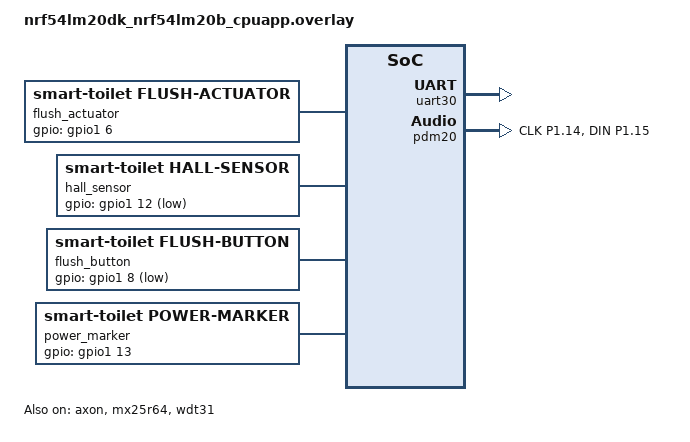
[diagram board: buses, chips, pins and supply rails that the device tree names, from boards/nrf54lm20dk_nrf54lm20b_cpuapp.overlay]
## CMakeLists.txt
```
#
# Copyright (c) 2026 Nordic Semiconductor ASA
#
# SPDX-License-Identifier: LicenseRef-Nordic-5-Clause
#

cmake_minimum_required(VERSION 3.20.0)

find_package(Zephyr REQUIRED HINTS $ENV{ZEPHYR_BASE})
project(ww_kws)

target_sources(app PRIVATE
  src/main.c

  src/actuator.c
  src/cloud.c
  src/control_output.c
  src/dmic.c
  src/leds.c

  src/ww/wakeword.c
)

# The keyword-spotting stage and its model (~26 KB RAM) are only built for the
# KWS modes. The smart toilet runs APP_MODE_WW_ONLY, so they are omitted to
# leave room for the Wi-Fi/cloud/Memfault stacks.
target_sources_ifndef(CONFIG_APP_MODE_WW_ONLY app PRIVATE
  src/kws/kws.c
  src/kws/nrf_edgeai_generated/nrf_edgeai_user_model.c
)

# Compile in the nRF Cloud credentials when provisioning certs at build time.
zephyr_include_directories_ifdef(CONFIG_NRF_CLOUD_PROVISION_CERTIFICATES certs)

if(CONFIG_NRF_CLOUD_COAP)
  target_include_directories(app PRIVATE
    ${ZEPHYR_BASE}/../nrf/subsys/net/lib/nrf_cloud/common/include
    # nrf_cloud_coap_transport.h exposes nrf_cloud_coap_post(), used to forward
    # Memfault chunks to nRF Cloud's "chunks" resource over our CoAP connection.
    ${ZEPHYR_BASE}/../nrf/subsys/net/lib/nrf_cloud/coap/include)
endif()

# Wake word model selected via the APP_WW_MODEL Kconfig choice. Each model
# directory carries its own nrf_edgeai_generated/ files; the include
# directory makes wakeword.c's "nrf_edgeai_generated/..." include resolve
# to the selected model.
set(WW_MODEL_DIR src/ww/models/abracadabra_kws)
target_sources(app PRIVATE ${WW_MODEL_DIR}/nrf_edgeai_generated/nrf_edgeai_user_model.c)
target_include_directories(app PRIVATE ${WW_MODEL_DIR})

target_sources_ifdef(CONFIG_MEMFAULT app PRIVATE src/audio_telemetry.c)
# Liveness watchdog for the wake-word audio loop: captures a Memfault coredump
# and reboots if the loop wedges. Needs the Memfault assert/coredump path.
target_sources_ifdef(CONFIG_MEMFAULT app PRIVATE src/audio_watchdog.c)
# Application Memfault heartbeat metric definitions
# (memfault_metrics_heartbeat_config.def lives in config/).
zephyr_include_directories_ifdef(CONFIG_MEMFAULT config)
# Audio level stats: needed for the per-second UART log (APP_AUDIO_STATS) and/or
# the Memfault audio metrics (MEMFAULT, fed via audio_telemetry). Compile if
# either is enabled so logging can be turned off without losing the metrics.
if(CONFIG_APP_AUDIO_STATS OR CONFIG_MEMFAULT)
  target_sources(app PRIVATE src/audio_stats.c)
endif()
target_sources_ifdef(CONFIG_APP_AUDIO_PROC app PRIVATE src/audio_proc.c)
target_sources_ifdef(CONFIG_APP_AUDIO_SNAP app PRIVATE src/audio_snap.c)
```

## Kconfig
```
#
# Copyright (c) 2026 Nordic Semiconductor ASA
#
# SPDX-License-Identifier: LicenseRef-Nordic-5-Clause
#

menu "Wakeword and Keyword Spotting application"

choice APP_MODE
	prompt "Application mode"
	default APP_MODE_WW_GATED_KWS

config APP_MODE_WW_GATED_KWS
	bool "Wakeword-gated keyword spotting mode"
	help
	  Run keyword spotting model only after wakeword was detected. After configurable duration
	  without any keyword spotted switch back to wakeword detection.

config APP_MODE_WW_ONLY
	bool "Wakeword detection only mode"
	help
	  Run wakeword detection continuously without switching to keyword spotting.

config APP_MODE_KWS_ONLY
	bool "Keyword spotting only mode"
	help
	  Run keyword spotting continuously without the need to detect wakeword first.

endchoice

choice APP_WW_MODEL
	prompt "Wake word model"
	default APP_WW_MODEL_ABRACADABRA
	help
	  Selects which generated model under src/ww/models/ is built in.
	  Longer, plosive-rich words survive far-field room reverb much
	  better: the original 2-syllable "Shazaam" managed only ~50% at the
	  deployment distance and was dropped.

config APP_WW_MODEL_ABRACADABRA
	bool "Abracadabra (Edge AI Lab solution 96848, 3-class KWS)"
	help
	  5-syllable word, plosive-rich with alternating open vowels —
	  ~95-100% at far-field in live testing (v2.x solution 93800).
	  Exported with Edge AI Lab 3.0.0 as a keyword-spotting model with
	  OTHER, SILENCE and abracadabra classes. The v2.x exports (93800,
	  "Okay Nordic") cannot run on the v3 runtime and were removed.

endchoice

config WW_PROBABILITY_THRESHOLD
	int "Wakeword probability threshold"
	range 0 1000
	default 990
	help
	   Probability threshold for wakeword detection model. The value is expressed in units of
	   1/1000.

config WW_HISTORY_SIZE
	int "Size of wakeword predictions history"
	range 1 32
	default 20
	help
	  Size of history of previous results from wakeword detection model. Each entry corresponds
	  to 30 milliseconds of past audio.

config WW_COUNT_THRESHOLD
	int "Threshold for wakeword detection from predictions history"
	range 1 WW_HISTORY_SIZE
	default 15
	help
	  Number of predictions above threshold in predictions history required to confirm wakeword
	  detection.

config WW_NEAR_MISS_FLOOR
	int "Near-miss floor probability, in 1/1000"
	range 0 1000
	default 300
	help
	  A run of inference frames at or above this probability that ends
	  without a confirmed detection is a "near miss": the model half-heard
	  something. Its peak probability and the audio level around it are
	  reported as ww_near_miss_* heartbeat metrics, and it arms the retry
	  assist (WW_RETRY_THRESHOLD).

config WW_NEAR_MISS_GAP_FRAMES
	int "Frames below the near-miss floor that end a run"
	range 1 100
	default 10
	help
	  A near-miss run ends once the probability has stayed below
	  WW_NEAR_MISS_FLOOR for this many consecutive frames (~30 ms each).

config WW_RETRY_THRESHOLD
	int "Probability bar while the retry assist is armed, in 1/1000"
	range 0 1000
	default 600
	help
	  After a near miss the per-frame bar drops from WW_PROBABILITY_THRESHOLD
	  to this value for WW_RETRY_WINDOW_MS, so a repeated utterance is
	  accepted. The vote count (WW_COUNT_THRESHOLD) is unchanged. Set equal
	  to WW_PROBABILITY_THRESHOLD to disable the assist.

config WW_RETRY_WINDOW_MS
	int "Retry assist duration after a near miss (ms)"
	range 0 30000
	default 3000

config WW_MISS_BUTTON_WINDOW_MS
	int "Button press within this many ms of a near miss counts as a confirmed miss"
	range 0 120000
	default 15000
	help
	  A failsafe-button press this soon after a near miss is taken as the
	  user giving up on voice: reported as ww_miss_then_button_count.

config WW_TRACE
	bool "Log a per-utterance trace of wake-word probabilities to UART"
	help
	  Live-tuning aid. For each run of frames where any non-background
	  class reaches 10 %, log one line with P(wake word) per frame in
	  percent, the argmax class per frame, the peak vote count and whether
	  it fired. Off in deployed builds.

config WW_CLASS_STATS
	bool "Log per-second argmax class counts to UART"
	help
	  Bench aid for checking the model's class labels. Once per second
	  (33 inferences), log how many inferences each class won as the
	  argmax, by index and label name. Compare quiet room, talking and
	  flushing: the class that wins while talking is the speech class.
	  Off in deployed builds.

config WW_MEL_CAL
	bool "Log mel value percentiles for the energy descriptor's scale"
	depends on NRF_EDGEAI_OBSV_METRIC_MEL_SPECTRAL_DESC || NRF_EDGEAI_OBSV_METRIC_MEL_ENERGY_DESC
	help
	  Bench aid for calibrating NRF_EDGEAI_OBSV_MEL_ENERGY_DESC_SCALE_P01/
	  P99_MILLI. Samples every mel feature value since boot and every 10 s logs
	  the 1st and 99th percentiles as the Kconfig values to set, plus the
	  window's min/max/mean. Costs 4 KB of RAM. Off in deployed builds.

config APP_PDM_GAIN_DB
	int "PDM microphone digital gain (dB)"
	range -20 20
	default 12
	help
	  Digital gain applied in the PDM peripheral on top of the 0 dB hardware
	  default. Raise it if speech at normal use distance peaks below about
	  -20 dBFS; lower it if APP_AUDIO_STATS reports clipped samples.

config APP_AUDIO_STATS
	bool "Log audio level and wake-word tuning statistics to UART"
	help
	  Once per second, log the microphone peak/RMS level in dBFS with a
	  clipped-sample count, and the peak wake-word probability and vote
	  count. Use this to tune APP_PDM_GAIN_DB and the WW_* thresholds.

	  This controls only the per-second UART logging. The Memfault audio
	  metrics (audio_peak_dbfs, audio_noise_floor_dbfs, audio_clip_count,
	  ww_prob_max_pct) are collected whenever CONFIG_MEMFAULT is enabled,
	  independent of this option, so the logging can be turned off in a
	  deployed build without losing remote diagnosis.

config APP_AUDIO_HPF
	bool "High-pass filter the mic audio"
	help
	  Apply a 2nd-order Butterworth high-pass at 120 Hz to each audio
	  block before detection, stripping rumble and handling noise below
	  the speech band.

config APP_AGC
	bool "Automatic gain control on the mic audio"
	help
	  Track the speech peak level and apply a smoothed software gain that
	  pulls it toward APP_AGC_TARGET_DBFS, compensating for speaker
	  distance on top of the fixed APP_PDM_GAIN_DB hardware gain. Cannot
	  undo saturation that happens in the PDM peripheral itself.

config APP_AGC_TARGET_DBFS
	int "AGC target peak level (dBFS)"
	depends on APP_AGC
	range -30 -6
	default -20
	help
	  Peak level the AGC pulls speech toward. The wake-word model is most
	  reliable with speech peaks in the -25 to -15 dBFS range.

config APP_AUDIO_PROC
	bool
	default y if APP_AUDIO_HPF || APP_AGC

config APP_AUDIO_SNAP
	bool "Audio snapshot recording over the control UART"
	# The async-UART raw-output/raw-input API this feature depends on
	# (control_output_raw_begin/tx/end, control_input_register) was removed
	# from control_output.c when it was rewritten to share VCOM0 with printk
	# logging (see control_output.c's file header). Nothing currently
	# implements those symbols, so enabling this option is a link error in
	# every build variant, not just the Wi-Fi one. Depend on an option that
	# does not exist so it cannot be selected until reimplemented.
	depends on APP_AUDIO_SNAP_BACKEND_IMPLEMENTED
	help
	  On receiving the trigger byte 'S' on the control UART (VCOM0),
	  record APP_AUDIO_SNAP_SECONDS of the processed mic audio to RAM,
	  then dump it back over the same UART as an "AUDIO_SNAP <bytes>"
	  header followed by raw 16-bit little-endian PCM at 16 kHz. Save it
	  as a .wav with: tools/uart_monitor.py snap --port <VCOM0>.

	  Currently NON-FUNCTIONAL: its backing raw-UART implementation in
	  control_output.c was removed and never restored (see git history for
	  control_output.c). Selecting this option is disabled until that is
	  reimplemented, so builds fail fast at configure time instead of at
	  link time.

config APP_AUDIO_SNAP_SECONDS
	int "Audio snapshot length (seconds)"
	depends on APP_AUDIO_SNAP
	range 1 12
	default 10
	help
	  Length of the recorded snapshot. RAM cost is 32 KB per second.

config APP_CONN_DUTY_CYCLE
	bool "Duty-cycled connectivity (low-power)"
	help
	  Replace always-on connectivity with periodic DRAIN windows: bring
	  Wi-Fi up, upload buffered Memfault data, run one FOTA check, then
	  take the interface fully down (radio off) until the next window.
	  Audio capture and inference are unaffected and stay always-on.
	  Between windows there is deliberately no Wi-Fi association, which
	  sidesteps the silent-drop and link-flap failure classes entirely.

config APP_CONN_DRAIN_PERIOD_S
	int "Seconds of radio-off time between DRAIN windows"
	depends on APP_CONN_DUTY_CYCLE
	default 3600
	help
	  Off-time between the end of one DRAIN window and the start of the
	  next. The fleet Device Offline alert threshold must comfortably
	  exceed this or every sleep window pages the whole team.
	  Raising this also raises the RAM cost of Memfault event storage
	  (every heartbeat fired while offline is buffered until the next
	  window drains it), so CONFIG_MEMFAULT_METRICS_HEARTBEAT_INTERVAL_SECS
	  and CONFIG_MEMFAULT_EVENT_STORAGE_SIZE must be re-sized together
	  with it. lowpower.conf sets all three as a matched set.

config APP_LED_HEARTBEAT
	bool "Pulse LED1 periodically instead of holding it on"
	help
	  By default LED1 is driven steady for the entire uptime to show that
	  audio capture is live. A DK LED draws on the order of a couple of mA,
	  which held continuously is a LARGER average draw than the whole
	  connectivity duty cycle saves, and on the bench it adds a constant
	  offset to every current trace. This replaces it with a short pulse:
	  at the defaults (20 ms every 5 s) the duty cycle is 0.4%, cutting the
	  LED's average contribution by roughly 250x while the board still
	  visibly indicates it is running.
	  Wake-word detection blinks keep priority over the pulse.

config APP_LED_HEARTBEAT_INTERVAL_MS
	int "LED1 heartbeat interval (ms)"
	depends on APP_LED_HEARTBEAT
	default 5000

config APP_LED_HEARTBEAT_ON_MS
	int "LED1 heartbeat pulse width (ms)"
	depends on APP_LED_HEARTBEAT
	default 20
	help
	  Keep this short; it is the only part of the period the LED is lit.
	  Much below ~10 ms starts to be hard to see.

config APP_POWER_MARKER
	bool "Drive a GPIO high for the duration of each DRAIN window"
	depends on APP_CONN_DUTY_CYCLE
	help
	  Bench instrumentation for current measurement. Drives the
	  power_marker devicetree node (P1.13 on the DK, broken out on header
	  P2) HIGH from the moment the DRAIN window opens the radio until
	  after the interface is taken back down, and LOW while sleeping.
	  Wire it to a Power Profiler Kit II digital input (D0-D7) and the
	  logic channel brackets exactly the radio-on region of the current
	  trace, so "is the nRF70 actually powered down between windows"
	  becomes a direct read rather than an inference.
	  Bench builds only -- see app/bench_power.conf. Leave off in field
	  builds so the pin stays free.

config APP_AUDIO_THREAD_PRIORITY
	int "Audio pipeline thread priority"
	range 0 14
	default 0
	help
	  Preemptive priority of the dedicated audio thread that runs the
	  DMIC read + wake-word/KWS inference loop. Priority 0 puts it above
	  the wpa_supplicant thread (lowered in cloud.conf) so Wi-Fi
	  scan/reconnect bursts cannot stall the loop long enough to overrun
	  the 4-block PDM DMA ring, while staying below the cooperative
	  network and Wi-Fi driver workqueues.

config APP_AUDIO_THREAD_STACK_SIZE
	int "Audio pipeline thread stack size"
	default 4096
	help
	  Stack for the audio thread. Sized like the main thread stack that
	  previously ran this loop (audio processing + edge-AI inference).

config KWS_PERIOD_MS
	int "Length of keyword spotting window in wakeword-gated mode"
	default 3000

config KWS_EMA_ALPHA
	int "Exponential moving average coefficient for class probability"
	range 0 1000
	default 120
	help
	  Coefficient for new entries in exponential moving average calculation for average class
	  probability. The value is expressed in units of 1/1000.

endmenu

source "Kconfig.zephyr"
```

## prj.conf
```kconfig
#
# Copyright (c) 2026 Nordic Semiconductor
#
# SPDX-License-Identifier: LicenseRef-Nordic-5-Clause
#

# Smart toilet: single "Abracadabra" wake word, no keyword-spotting stage.
# On detection the app blinks LED0 and prints "Wakeword detected" on VCOM0.
CONFIG_APP_MODE_WW_ONLY=y

# Active wake word (see APP_WW_MODEL choice in Kconfig).
CONFIG_APP_WW_MODEL_ABRACADABRA=y

# Wake-word detection sensitivity (defaults were 990/20/15 = too strict).
# Per-frame probability bar, in 1/1000.
# 0.60 -> 0.90 (2.3.6): with the vote count at 3 (2.3.5), Toilet #1 fired 9
# times in one 6 h window (1-4 per day before) and every firing flushes. The
# vote counts ANY 3 above-bar frames in the 20-frame window, so the bar is
# what separates a real utterance (frames at 0.98-0.99) from a burst of
# marginal ones. On 2.3.4 the 0.60-0.875 range held only ~13 of 2.9M frames
# per toilet on a normal day, so 0.90 costs almost no true detections. Matt's
# call: raise the bar, keep the count.
# 0.90 -> 0.70 (3.0.1): the 0.90 bar was set for the old single-output model,
# whose utterance frames sat at 0.98-0.99. The v3 3-class model (OTHER,
# SILENCE, abracadabra) spreads them: in the first 24 h CDR on 3.0.0 only 71
# of the 179 frames where Toilet #1's argmax was abracadabra cleared 0.90, and
# 7 of its 8 first-night detections came from the retry assist after near
# misses peaking at 0.76-0.82. Off-utterance frames stay rare: argmax entered
# abracadabra only 15 times on #1 and 4 times on #2 in 24 h, and all but one
# of those runs were >= 8 frames long, i.e. real utterances.
# 0.70 -> 0.50 (3.0.2): live-debug session on Toilet #1 (2026-10-19, per-
# utterance CONFIG_WW_TRACE logs). Replaying 57 of Matt's attempts, the
# first-try hit rate is 71-77% at 0.70 and 88-90% at 0.50 with 3 votes; the
# window length (10/20/30 frames) made no difference, as an utterance spans
# only 12-18 frames. About 90 s of other loud sound (talking, tank refill)
# never pushed P(abracadabra) above 0.21. Remaining misses peak at 0.41-0.55
# with argmax OTHER; that is a model (training data) problem, not a bar one.
CONFIG_WW_PROBABILITY_THRESHOLD=500
# Sliding vote window length, in ~30 ms inference frames (20 = 600 ms).
CONFIG_WW_HISTORY_SIZE=20
# Frames-above-threshold required within the window to fire (5 of 20).
# 7 -> 5 (v2.0.8): field data showed a brief clean utterance peaking at 84%
# confidence (well above the 60% bar) getting rejected by the vote gate --
# quick speakers don't sustain 7 frames (~210 ms) above threshold. 5 accepts
# brief confident utterances; watch ww_detections vs flush_count for any
# false-accept uptick.
# 5 -> 3 (2.3.5): the first 24 h of class-streak CDRs on 2.3.4 showed the
# probability histogram is bimodal (fewer than 45 of 2.9M frames sit between
# 0.125 and 0.875), and about half of all above-threshold runs were 2-4 frames
# long -- confident but too brief for a 5-vote. Every run >= 5 fired, every
# run < 5 was lost. Only one isolated single high frame appeared in a day, so
# 3 has little false-accept exposure. Streak bins 1-2 are the false-accept
# watch list from here.
CONFIG_WW_COUNT_THRESHOLD=3
# False-negative diagnostics + retry assist (2.3.7). A run of frames at or
# above 0.30 that ends without a detection is a "near miss" (the model
# half-heard something); it is reported as ww_near_miss_* heartbeat metrics
# with the surrounding audio level, and a button press within 15 s of it is
# counted as a confirmed miss. For 3 s after a near miss the per-frame bar
# drops to 0.60 so a repeat is accepted (ww_retry_detections counts those).
# The assist arms when the run ends, never for the utterance that caused it.
CONFIG_WW_NEAR_MISS_FLOOR=300
CONFIG_WW_NEAR_MISS_GAP_FRAMES=10
# 0.60 -> 0.50 (3.0.1) -> 0.40 (3.0.2): stays below the main bar.
CONFIG_WW_RETRY_THRESHOLD=400
CONFIG_WW_RETRY_WINDOW_MS=3000
CONFIG_WW_MISS_BUTTON_WINDOW_MS=15000
# PDM digital gain in dB (0.5 dB hardware steps, range -20..+20). Hardware max.
# HISTORY: v2.0.8 cut this to 12 for saturation headroom (clipped speech zeroes
# the model) and wake word detection STOPPED WORKING at normal voice/distance --
# the model is effectively calibrated to the +20 dB input scaling and the
# software AGC (post-capture) did not compensate. v2.0.9 reverts to the known-
# good 20. LESSON: do not change capture gain without re-validating the model;
# the saturation fix must come from somewhere else (clip-aware preprocessing or
# retraining across input levels), not from the hardware gain.
# 20 -> 16 (2.3.5, fleet-wide): the 2.3.3/2.3.4 A/B ran +16 on Toilet #1 only.
# Unlike the +12 experiment, +16 kept detecting at normal distance (3 of 12
# flushes by voice in the first 2.3.4 day, in line with the +20 control), and
# it still clips when someone is close, so it is not a cure for saturation
# either. Matt's call to run +16 on both. Placement note (2026-09-18):
# Toilet #2 is in the quieter spot; Toilet #1 is the one that sees bursts of
# marginal (0.6-0.9) frames, which is what drove the 2.3.6 bar change. Watch
# ww_detections vs flush_count and audio_clip_count per heartbeat.
# 16 -> 20 (3.0.2, Matt's call): in the 2026-10-19 live test +20 lifted the
# noise floor 4 dB but speech still peaked only ~-33 dBFS at the mic with no
# clipping, and the v3 model scored the same at both gains.
CONFIG_APP_PDM_GAIN_DB=20

# Front-end cleanup applied to each audio block before detection.
# 120 Hz Butterworth high-pass: strips rumble/handling noise below speech.
CONFIG_APP_AUDIO_HPF=y
# Software AGC: OFF (v2.0.10). Its slowly-drifting gain state deafened the
# units over hours: fresh-boot detections hit 99% (AGC ~unity) on BOTH units,
# then attempts hours into an uptime returned confidence 0 on healthy audio,
# and post-AGC software clipping showed up in the clip counter (the AGC's
# +/-12 dB acts after hardware capture; wound-up gain pushed speech onsets
# into int16 saturation, which zeroes the model). Detection consistency beats
# distance compensation. If re-enabled, add state-drift protection (decay
# gain toward unity while gated, bound the envelope) and re-validate over
# multi-hour uptimes, not just post-boot. (Target was -20 dBFS.)
CONFIG_APP_AGC=n

# Audio snapshot: DISABLED in the Wi-Fi build. Its multi-second 16 kHz capture
# buffer is hundreds of KB and does not fit alongside the Wi-Fi/cloud/Memfault
# stacks, and its raw-UART dump conflicts with the shield's VCOM0 console.
CONFIG_APP_AUDIO_SNAP=n

# Mic/wake-word tuning telemetry via LOG (VCOM0 with the shield), once per
# second: "audio: peak/rms dBFS + clipped samples" and "ww: peak prob/votes".
# OFF (v2.0.6): tuning is done, and the 1 Hz spam would wrap the 2 KB Memfault
# log ring in ~20 s, evicting the error lines coredumps should carry. The
# audio_peak_dbfs/ww_* heartbeat METRICS are unaffected (audio_telemetry.c
# atomics, not these log lines). Re-enable locally when re-tuning the mic.
CONFIG_APP_AUDIO_STATS=n
# Float formatting in log messages (dBFS, probabilities).
CONFIG_CBPRINTF_FP_SUPPORT=y

# nRF Edge AI
CONFIG_NRF_EDGEAI=y

# nRF Edge AI dependencies. The add-on (v3.0.0) only needs FPU; NCS 3.4.1 makes
# picolibc the default libc (newlib is deprecated). PICOLIBC_IO_FLOAT enables
# float printing (dBFS / wake-word probabilities in our LOG output).
CONFIG_NRF_AXON=y
CONFIG_PICOLIBC_IO_FLOAT=y
CONFIG_FPU=y

# Bound the common-libc malloc arena to a fixed size. The Wi-Fi supplicant
# force-selects COMMON_LIBC_MALLOC; leaving ARENA_SIZE unbounded (-1) previously
# let it collide with the libc float-formatting heap and fault cloud_tid during
# nRF Cloud JWT generation. A fixed arena in static bss avoids that.
CONFIG_COMMON_LIBC_MALLOC_ARENA_SIZE=40960

# Size of interlayer buffer to fit model
CONFIG_NRF_AXON_INTERLAYER_BUFFER_SIZE=6656

# Size of psum buffer to fit model
CONFIG_NRF_AXON_PSUM_BUFFER_SIZE=0

# Enable sensor, button and LED libraries
CONFIG_GPIO=y
CONFIG_AUDIO=y
CONFIG_AUDIO_DMIC=y

# Enable logging and assert
CONFIG_LOG=y
CONFIG_CONSOLE=y
CONFIG_SERIAL=y
CONFIG_ASSERT=y

# Async UART is not used: with the nRF7002 shield the console moves to UART30
# (VCOM0) and control output goes via printk, so the async API is left off.
CONFIG_UART_ASYNC_API=n

# --- Memfault (coredumps, reboot reasons, metrics) ---
# Captured on-device and forwarded as chunks through the nRF Cloud CoAP
# connection (see cloud.c). No device-side project key needed for forwarding.
CONFIG_MEMFAULT=y
# Memfault project key is passed at build time (-DCONFIG_MEMFAULT_NCS_PROJECT_KEY)
# from ~/.memfault_project_key so the key isn't committed. Needed now that
# Memfault handles data upload + OTA over nRF Cloud CoAP (see cloud.conf).
CONFIG_MEMFAULT_NCS_DEVICE_ID_HW_ID=y
CONFIG_MEMFAULT_NCS_FW_TYPE="smart-toilet"
# Reported FW version. Left STATIC but NOT hardcoded: with no explicit value the
# NCS default is $(APP_VERSION_TWEAK_STRING), i.e. app/VERSION (-> "1.1.0+0").
# This MUST track app/VERSION: Memfault Release Management decides whether to
# offer an OTA by comparing the device's reported version against the active
# release's version. The old hardcoded "1.0.0+wifi" never changed between
# builds, so Memfault would see every new image as "already current" and never
# deliver the update. Single-sourcing from app/VERSION prevents that.
CONFIG_MEMFAULT_NCS_FW_VERSION_STATIC=y
CONFIG_MEMFAULT_NCS_HW_VERSION="nrf54lm20dk"
CONFIG_MEMFAULT_RAM_BACKED_COREDUMP=y
# Sized to hold the stalled thread's stack: the audio/cloud stall watchdogs fire
# from a timer ISR, so the wedged thread (main or cloud_tid) is captured via the
# all-thread stack collection (MEMFAULT_COREDUMP_COLLECT_TASKS_REGIONS, default
# y). 4096 truncated once those stacks were added; 16384 keeps enough frames to
# locate the wedge. Costs ~12 KB of .noinit RAM.
CONFIG_MEMFAULT_RAM_BACKED_COREDUMP_SIZE=16384
# Collect more of each thread's stack (default 256 B ~ 4 frames) so the wedge
# point in the non-active stalled thread is deep enough to be actionable.
CONFIG_MEMFAULT_COREDUMP_STACK_SIZE_TO_COLLECT=512
# Enable user Memfault config so app/config/memfault_metrics_heartbeat_config.def
# (the audio/wake-word metrics) is compiled in. SILENT_FAIL keeps the build OK
# even though we don't provide the other two optional files (platform config,
# trace-reason defs) — they're skipped via __has_include.
CONFIG_MEMFAULT_USER_CONFIG_ENABLE=y
CONFIG_MEMFAULT_USER_CONFIG_SILENT_FAIL=y
# 10-minute heartbeat so the audio/wake-word metrics (audio_telemetry.c) give
# usable granularity for remote wake-word diagnosis (default is 3600 s).
CONFIG_MEMFAULT_METRICS_HEARTBEAT_INTERVAL_SECS=600
# We provide our own memfault_metrics_heartbeat_collect_data() (audio_telemetry.c)
# to publish the audio metrics, so disable the NCS port's definition of it (it
# would otherwise multiply-define the symbol). Our hook still calls
# memfault_ncs_metrics_collect_data() so NCS stack metrics keep working.
CONFIG_MEMFAULT_NCS_IMPLEMENT_METRICS_COLLECTION=n

# --- Edge AI Observability: on-device ML metrics -> Memfault CDR ---
# The Edge AI add-on's observability library (nrf_edgeai_obsv) accumulates a
# histogram of the wake-word model's output probability on-device and ships it
# to Memfault as a Custom Data Recording (a CBOR blob), riding the SAME HTTPS
# drain as coredumps/heartbeats (cloud.c upload_memfault_data()). This is field
# ML-quality monitoring: it shows how confidently "abracadabra" fires across the
# fleet and flags model/mic drift for retraining decisions.
CONFIG_NRF_EDGEAI_OBSV=y
# The v3 model is a 3-class KWS export (OTHER, SILENCE, abracadabra) and the
# metrics see its real probability vector (the v2.x single-output model needed a
# synthetic { threshold, p } pair). This bound must be >= the model's class count
# (WW_OBSV_NUM_CLASSES): nrf_edgeai_obsv_init() returns -EINVAL when num_classes
# exceeds it, ww_obsv_init() bails out before binding the Memfault CDR transport,
# and no CDR is ever uploaded. 2.3.2 and 2.3.3 shipped with 1 and did exactly that.
CONFIG_NRF_EDGEAI_OBSV_MAX_CLASSES=3
# Class-to-class transitions: meaningful now that the argmax is a real class.
# Grows as N^2 (9 counters). Needs a matching change in wakeword.c to register it.
CONFIG_NRF_EDGEAI_OBSV_METRIC_TRANSITION_MATRIX=y
# Class predictions distribution (add-on v3.0.0; merges the v2.x probability
# and class-streak distribution metrics into one 2*num_classes x bin_num matrix).
# Rows [0,N): per-class probability histogram over [0,1] — how often the model
# sits near 0 (silence/noise) versus firing near 1 (clear utterance) in the
# field. Rows [N,2N): per-class streak-length histogram — how many consecutive
# inferences the argmax stays on the same class (the model's own argmax now, not
# the app's threshold crossing as in v2.x). Separates sustained, held detections from single-frame flicker.
CONFIG_NRF_EDGEAI_OBSV_METRIC_CLASS_PRED_DIST=y
# One bin count is shared by both row groups (was 8 prob bins / 10 streak bins
# in v2.x). 10 bins over [1,10] for streaks: one bin per length 1..9, last bin
# >= 10. Probability bins are now 0.1 wide, so v3 CDRs do not line up bin-for-bin
# with exports 1-9.
CONFIG_NRF_EDGEAI_OBSV_CLASS_PRED_DIST_BIN_NUM=10
CONFIG_NRF_EDGEAI_OBSV_CLASS_PRED_DIST_STREAK_TOP_BIN=10
# Flicker tolerance 1: a single mismatching frame does not end a streak (and is
# not counted into its length). v2.x streaks used tolerance 0, so v3 streak
# counts are not directly comparable to exports 1-9 — expect longer streaks.
CONFIG_NRF_EDGEAI_OBSV_CLASS_PRED_DIST_STREAK_TOL=1
# Model certainty descriptor (3.0.3): normalized-entropy and top-2 margin
# histograms (4 bins each over [0,1]) plus stability counters [switches,
# comparisons, majority_frames, confident_switches]. Shows how decisive the
# model is and how often its argmax flips; no calibration needed, fed from the
# same probability vector. Appended after the mel descriptor in wakeword.c.
CONFIG_NRF_EDGEAI_OBSV_METRIC_MODEL_CERTAINTY_DESC=y
CONFIG_NRF_EDGEAI_OBSV_MODEL_CERTAINTY_DESC_BIN_NUM=4
# Mel spectral descriptor (input-side observability, 2.3.3): 8 rows of
# scale-invariant spectral-shape statistics of each frame's mel vector, 8 bins
# each. No amplitude calibration needed.
CONFIG_NRF_EDGEAI_OBSV_METRIC_MEL_SPECTRAL_DESC=y
CONFIG_NRF_EDGEAI_OBSV_MEL_SPECTRAL_DESC_BIN_NUM=8
# Mel energy descriptor (loudness, input side): per-frame mean / max / dynamic
# range / floor-bin ratio of the mel vector, fed as quantizer steps above the
# floor (0..255, see wakeword.c). Tells a quieter room from a model limit.
# Scale measured on Toilet #1 (new mic + lid mount) 2026-10-29 with
# CONFIG_WW_MEL_CAL over 14 min of quiet room, a talking video and 12 wake
# words: p01 0, p99 164 steps. 10 s window means: quiet ~13 (-64 dBFS RMS),
# video ~22 (-51 dBFS), voice at the toilet ~30. 16 bins (10 steps each) so
# those three land in different bins of the mean row; 8 bins put them all in
# bins 0-1. No flush was in the sample. The max row saturates above 164 by
# design (the library's p99 is taken over all values, not per-frame maxima).
CONFIG_NRF_EDGEAI_OBSV_METRIC_MEL_ENERGY_DESC=y
CONFIG_NRF_EDGEAI_OBSV_MEL_ENERGY_DESC_BIN_NUM=16
CONFIG_NRF_EDGEAI_OBSV_MEL_ENERGY_DESC_SCALE_P01_MILLI=0
CONFIG_NRF_EDGEAI_OBSV_MEL_ENERGY_DESC_SCALE_P99_MILLI=164000
# CBOR encoder (turns obsv snapshots into bytes for transport). Needs ZCBOR.
CONFIG_ZCBOR=y
CONFIG_NRF_EDGEAI_OBSV_ENCODE=y
# Memfault CDR transport: stage the encoded blob as a Custom Data Recording that
# the Memfault packetizer drains alongside heartbeats over HTTPS.
CONFIG_MEMFAULT_CDR_ENABLE=y
CONFIG_NRF_EDGEAI_OBSV_MEMFAULT=y
# Refresh the staged CDR periodically on the system workqueue (no app timer
# needed); ~162 B stack buffer, absorbed by the existing workqueue stack.
# Twice per day (v2.0.13): the collect timer and the in-RAM histogram BOTH reset on
# every reboot, so a unit that reboots before reaching the interval as uptime never
# completes a window and ships NO CDR. At 86400 (v2.0.2) this silently starved every
# CDR on any frequently-rebooting unit -- e.g. Toilet #2, whose ~daily Wi-Fi
# disconnect-recovery reboots land near 22-23 h uptime, so its daily CDR never fired
# (last one 2026-07-12). Memfault still retains at most 1 CDR/device/day, so 12 h
# does not spam the backend; it just guarantees a collection lands within a sub-24 h
# uptime. Was 86400. (Backend cap chosen at v2.0.2 to avoid re-encoding ~143x/day;
# raise the project limit or use developer mode before shortening below the cap.)
CONFIG_NRF_EDGEAI_OBSV_MEMFAULT_AUTO_COLLECT=y
CONFIG_NRF_EDGEAI_OBSV_MEMFAULT_AUTO_COLLECT_INTERVAL_SEC=43200

# --- Log capture into coredumps (v2.0.6) ---
# Route Zephyr logs into Memfault's RAM ring buffer; the coredump collects the
# log regions by default (MEMFAULT_COREDUMP_COLLECT_LOG_REGIONS=1), so every
# watchdog/crash trace arrives WITH the last log lines leading up to it (e.g.
# "DMIC read error -11" spam before an audio-watchdog trip, or TLS errors
# before a cloud-stall reboot). 2 KB ring ~= the last few dozen lines; static
# RAM cost ~2 KB. (Marked experimental in the SDK; capture-side only.)
CONFIG_MEMFAULT_LOGGING_ENABLE=y
CONFIG_MEMFAULT_LOGGING_RAM_SIZE=2048

# Reboot after a fatal error so the device auto-recovers and uploads the
# coredump on the next connection (RAM-backed coredump survives a warm reset).
CONFIG_RESET_ON_FATAL_ERROR=y

# --- Hardware watchdog (v1.8.13) ---
# task_wdt on the nRF54 wdt31 (enabled in the board overlay), fed from the audio
# loop (audio_watchdog.c). Every other watchdog here is k_timer-based and cannot
# fire if the kernel clock itself is wedged (a total CPU lockup); the hardware WDT
# resets the SoC regardless. HW fallback is on by default.
CONFIG_WATCHDOG=y
CONFIG_TASK_WDT=y
# The hardware window is MIN_TIMEOUT + HW_FALLBACK_DELAY, not the task channel's
# HW_WDT_TIMEOUT_MS. The 100 + 20 ms default survives a soft reset into MCUboot,
# which feeds it only between external-flash operations, so FOTA swaps were reset
# mid-way (3.0.5). 10 s covers any single MX25R64 erase with a wide margin; a total
# lockup is still caught within 10 s.
CONFIG_TASK_WDT_MIN_TIMEOUT=10000

# Version stamped into the signed MCUboot image (shows in the nRF Cloud FOTA
# bundle manifest and is used for downgrade checks). Keep in sync with the
# VERSION file, which drives the APP_VERSION boot-log marker. Bump both for a
# new FOTA image (e.g. 1.0.0 -> 1.1.0). See docs/fota-test.md.
CONFIG_MCUBOOT_IMGTOOL_SIGN_VERSION="3.0.6+0"

# --- External flash (MX25R64 on spi00) for the MCUboot secondary slot ---
# The application needs the SPI-NOR driver compiled in so the Partition
# Manager (and, later, the FOTA download client) can access the off-chip
# secondary image partition.
CONFIG_SPI=y
CONFIG_SPI_NOR=y
CONFIG_SPI_NOR_FLASH_LAYOUT_PAGE_SIZE=4096
CONFIG_NORDIC_QSPI_NOR=n
CONFIG_STREAM_FLASH=y
```

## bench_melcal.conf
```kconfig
#
# Copyright (c) 2026 Nordic Semiconductor
#
# SPDX-License-Identifier: LicenseRef-Nordic-5-Clause
#
# BENCH ONLY -- mel energy descriptor calibration. Layered LAST:
#   EXTRA_CONF_FILE="cloud.conf;lowpower.conf;bench_melcal.conf"
#
# Logs the mel feature values' 1st/99th percentiles since boot every 10 s
# (CONFIG_WW_MEL_CAL), next to the per-second dBFS level (APP_AUDIO_STATS), so
# the readings can be matched to what the room was doing. Take quiet room,
# normal speech at the toilet, the wake word, and a flush, then copy the final
# "since boot" SCALE_P01_MILLI / SCALE_P99_MILLI into prj.conf.
CONFIG_WW_MEL_CAL=y
CONFIG_APP_AUDIO_STATS=y
```

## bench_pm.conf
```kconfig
#
# Copyright (c) 2026 Nordic Semiconductor
#
# SPDX-License-Identifier: LicenseRef-Nordic-5-Clause
#
# ============================================================
# EVALUATED 2026-07-27 AND **NOT ADOPTED**. Kept as a record so
# nobody re-tries this expecting a win.
#
#   bench (serial+log)          0.650 mA baseline
#   + PM_DEVICE_RUNTIME         0.649 mA baseline   <-- no change
#
# It is functionally SAFE -- audio started, DHCP landed at 12.6 s, the
# DRAIN window completed and the audio watchdog never fired, so it does
# not suspend the PDM out from under the pipeline the way
# PLAN_low_power.md feared. It simply saves nothing measurable, because
# the peripherals that dominate here (PDM, and the CPU running inference)
# are the ones actively in use. Risk without reward.
#
# CONFIG_PM (system PM) is NOT AVAILABLE on this SoC: it depends on
# HAS_PM, which nRF54LM20 does not advertise in NCS 3.4.0. Not a loss --
# the idle path is WFI, which is how nRF54L reaches System ON IDLE
# (~3 uA) anyway.
# ============================================================
#
# BENCH ONLY. Layered LAST:
#   EXTRA_CONF_FILE="cloud.conf;lowpower.conf;bench_power.conf;bench_pm.conf"
#
# If ever revisited, re-validate against continuous PDM capture: check
# that audio starts, DRAIN windows still connect, and the audio watchdog
# does not fire.

# System power management: lets the idle thread enter deeper SoC states
# rather than only WFI.
CONFIG_PM=y

# Device power management + runtime PM: allows drivers to suspend
# individually when unused. This is the risky half.
CONFIG_PM_DEVICE=y
CONFIG_PM_DEVICE_RUNTIME=y
```

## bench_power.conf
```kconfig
#
# Copyright (c) 2026 Nordic Semiconductor
#
# SPDX-License-Identifier: LicenseRef-Nordic-5-Clause
#
# BENCH ONLY -- current-measurement overlay for PPK2 work.
# Layered LAST, after the real low-power config:
#   EXTRA_CONF_FILE="cloud.conf;lowpower.conf;bench_power.conf"
#
# NEVER upload a build made with this file to Memfault and never deploy it
# to a cohort. It reconnects every few minutes, which in the field would
# defeat the entire point of the duty cycle and hammer the AP. It exists so
# a full window-plus-sleep cycle can be observed repeatedly on a scope
# instead of once every 12 hours. Wired flash only.

# 5-minute off-time instead of 12 h: a complete cycle (radio on, connect,
# upload, radio off, sleep) every ~5.5 min, so a PPK2 capture catches many
# transitions in one sitting.
CONFIG_APP_CONN_DRAIN_PERIOD_S=300

# Distinct reported version. Without this the bench image reports the SAME
# "2.2.1+0" as the field release, and Memfault only offers an OTA when the
# cohort's active release differs from what the device reports -- so the
# bench unit could NOT be recovered over the air afterwards, it would need
# another wired flash. The suffix makes the two distinguishable, and also
# stops bench heartbeats/coredumps from polluting the real 2.2.1 fleet
# metrics.
CONFIG_MEMFAULT_NCS_FW_VERSION="2.2.1-bench"

# Drive P1.13 high for the whole radio-on region -> PPK2 digital input.
CONFIG_APP_POWER_MARKER=y

# The upload backstop is derived from the DRAIN period
# (UPLOAD_WATCHDOG_DUTY_S = 2 * period + CONNECT_WAIT_S), so at a 300 s
# period it collapses to ~15 min. That is fine and intended: on the bench a
# genuinely wedged upload SHOULD reboot quickly rather than sit there
# silently polluting a capture.

# Heartbeats: back to a short interval so several land per capture and the
# metrics path is exercised. Storage stays at the lowpower.conf value, which
# is enormous for a 5-minute window.
CONFIG_MEMFAULT_METRICS_HEARTBEAT_INTERVAL_SECS=600

# NOTE ON SERIAL: logging is deliberately left ENABLED here so the first run
# can be validated against the console (window open/close lines should line
# up with the marker edges). Nordic's DK docs warn that current readings are
# noisy while the virtual serial port is OPEN -- so once the setup is
# confirmed, close the terminal before taking real numbers. For the cleanest
# possible SoC-side figure, rebuild with CONFIG_SERIAL=n, CONFIG_CONSOLE=n,
# CONFIG_LOG=n, CONFIG_PRINTK=n (PLAN_low_power.md step 50). This matters
# far less for the nRF7002 measurement, which is the one that answers
# whether the radio actually powers down.
```

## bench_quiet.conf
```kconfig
#
# Copyright (c) 2026 Nordic Semiconductor
#
# SPDX-License-Identifier: LicenseRef-Nordic-5-Clause
#
# BENCH ONLY -- "quiet" overlay for current measurement. Layered LAST:
#   EXTRA_CONF_FILE="cloud.conf;lowpower.conf;bench_power.conf;bench_quiet.conf"
#
# Strips the serial/logging stack so a capture shows what the application
# actually costs rather than what the console costs. PLAN_low_power.md
# step 50 calls for exactly this variant.
#
# MEASURED 2026-07-27: 0.622 mA baseline vs 0.650 mA with serial on, so
# **-28 uA**. Real but small -- ~4% of the SoC baseline and ~2% of the
# whole system budget. NOT promoted to lowpower.conf: this project has
# repeatedly needed the console (the v2.1.0 connect race, the DMIC wedges,
# validating the PPK2 rig), and 2% is a poor trade for losing on-device
# debuggability. Enable it if the budget ever gets tight.
#
# CONFIG_LOG cannot be turned off while Memfault is in -- its Kconfig does
# `select LOG` (ports/zephyr/Kconfig:374). With SERIAL=n the UARTE is gone,
# which is the actual power item; the logging thread survives but its
# output goes nowhere.
#
# There is NO CONSOLE with this build. Correlate against the current trace
# itself (the DRAIN window is unmistakable) or the P1.13 marker, not logs.
#
# NOTE: this does NOT make the SoC reach microamps, and it cannot. The
# wake-word pipeline captures PDM audio and runs inference CONTINUOUSLY by
# design -- the device is never idle. Microamp figures apply to duty-cycled
# sensor nodes that spend their life in System OFF; an always-listening
# device has no such state. What this overlay removes is the UARTE
# peripheral, the logging thread and its buffers.

CONFIG_SERIAL=n
CONFIG_CONSOLE=n
CONFIG_UART_CONSOLE=n
CONFIG_LOG=n
CONFIG_PRINTK=n
CONFIG_BOOT_BANNER=n
```

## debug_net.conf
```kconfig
# TEMPORARY diagnostic overlay: trace the errno-113 (EHOSTUNREACH) path to
# Memfault on NCS 3.4.0. Shows DNS query/result, the socket connect target, and
# the DHCP lease (incl. the default router/route). Remove before shipping.
CONFIG_DNS_RESOLVER_LOG_LEVEL_DBG=y
CONFIG_NET_SOCKETS_LOG_LEVEL_DBG=y
CONFIG_NET_DHCPV4_LOG_LEVEL_DBG=y
CONFIG_NET_IF_LOG_LEVEL_INF=y
# mbedTLS handshake internals: names the exact failing handshake step
# (curve/sigalg selection, ServerKeyExchange verify, cert parse/verify flags).
# MBEDTLS_DEBUG is the Zephyr glue that installs the debug callback for native
# TLS sockets (implies MBEDTLS_DEBUG_C); the log level drives the threshold.
CONFIG_MBEDTLS_DEBUG=y
CONFIG_MBEDTLS_LOG_LEVEL_DBG=y
# nrf_security's MBEDTLS_DEBUG_LEVEL (prompted, default 0) wins over the Zephyr
# glue's derived default -- set the threshold explicitly or nothing is logged.
CONFIG_MBEDTLS_DEBUG_LEVEL=3
```

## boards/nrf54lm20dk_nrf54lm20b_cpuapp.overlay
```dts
/*
 * Copyright (c) 2026 Nordic Semiconductor ASA
 *
 * SPDX-License-Identifier: LicenseRef-Nordic-5-Clause
 *
 * Smart toilet + nRF7002 EB II (Wi-Fi). The EB II occupies the P17 expansion
 * connector; the toilet peripherals are wired to header P2 (GPIO port P1) on
 * pins the EB II does not use. See memory smart-toilet-cloud for the pin map.
 */

#include <zephyr/dt-bindings/gpio/gpio.h>

/ {
	chosen {
		ncs,control-output-uart = &uart30;
		/* Partition Manager places the MCUboot secondary slot here. */
		nordic,pm-ext-flash = &mx25r64;
	};

	/* Flush motor drive on P1.06 (active high = MOSFET on). P1.06 is not
	 * used by the EB II and is broken out on header P2.
	 */
	flush_actuator: flush-actuator {
		compatible = "smart-toilet,flush-actuator";
		gpios = <&gpio1 6 GPIO_ACTIVE_HIGH>;
	};

	/* Hall sensor moved to P1.07 -> P1.12: P1.07 is the EB II coexistence
	 * GRANT pad, so the Hall sensor now uses free GPIO P1.12 (header P2).
	 * Powered from 5V; idles HIGH, pulls LOW when the magnet is present.
	 */
	hall_sensor: hall-sensor {
		compatible = "smart-toilet,hall-sensor";
		gpios = <&gpio1 12 GPIO_ACTIVE_LOW>;
	};

	/* Failsafe flush switch on P1.08: one side wired to GND, so closing
	 * the switch pulls the line low (active low) against the internal
	 * pull-up. Triggers a flush without the wake word.
	 */
	flush_button: flush-button {
		compatible = "smart-toilet,flush-button";
		gpios = <&gpio1 8 (GPIO_ACTIVE_LOW | GPIO_PULL_UP)>;
	};

	/* Bench power-measurement marker on P1.13 (see bench_power.conf).
	 * Driven HIGH for the whole DRAIN window and LOW between windows so a
	 * PPK2 digital channel brackets the radio-on period on the current
	 * trace. Only claimed when CONFIG_APP_POWER_MARKER=y, so field builds
	 * leave the pin untouched. P1.13 is free: P1.12 is the Hall sensor and
	 * P1.14/P1.15 are the PDM mic, and the EB II uses P1.04/05/07/10/11.
	 */
	power_marker: power-marker {
		compatible = "smart-toilet,power-marker";
		gpios = <&gpio1 13 GPIO_ACTIVE_HIGH>;
	};
};

&uart30 {
	status = "okay";
};

&pinctrl {
	/* PDM mic on P1.14 (CLK) / P1.15 (DIN), connector P2. Both free (not used
	 * by EB II, motor, Hall, LEDs, buttons, UART1 or crystals). Moved off
	 * P1.04/P1.05 (EB II BUCKEN/IRQ), then off P1.10/P1.11.
	 */
	pdm20_default_alt: pdm20_default_alt {
		group1 {
			psels = <NRF_PSEL(PDM_CLK, 1, 14)>,
				<NRF_PSEL(PDM_DIN, 1, 15)>;
		};
	};
};

dmic_dev: &pdm20 {
	status = "okay";
	pinctrl-0 = <&pdm20_default_alt>;
	pinctrl-names = "default";
	clock-source = "PCLK32M";
};

&axon {
	status = "okay";
};

/* Onboard MX25R6435F (8 MB SPI-NOR on spi00, CS P2.05). Enabled so the
 * Partition Manager can place the MCUboot secondary slot off-chip, freeing
 * internal RRAM for a full-size primary slot.
 */
&mx25r64 {
	status = "okay";
};

/* Hardware watchdog (v1.8.13): the nRF54 WDT (aliased watchdog0), disabled by
 * default in the SoC dtsi. task_wdt sits on top of it as the last-resort reset
 * that fires even in a total lockup where the kernel clock (and thus every
 * software k_timer watchdog) is dead. Fed from the audio loop; see audio_watchdog.c.
 */
&wdt31 {
	status = "okay";
};
```

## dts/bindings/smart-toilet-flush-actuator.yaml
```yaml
# Copyright (c) 2026 Nordic Semiconductor ASA
# SPDX-License-Identifier: LicenseRef-Nordic-5-Clause

description: |
  Smart toilet flush actuator: a single GPIO output that drives a
  relay or solenoid. The cell flags select the active level.

compatible: "smart-toilet,flush-actuator"

properties:
  gpios:
    type: phandle-array
    required: true
    description: GPIO that drives the flush relay/solenoid.
```

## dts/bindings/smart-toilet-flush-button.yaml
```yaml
# Copyright (c) 2026 Nordic Semiconductor ASA
# SPDX-License-Identifier: LicenseRef-Nordic-5-Clause

description: |
  Smart toilet failsafe flush switch. Closing the switch asserts the line
  (active low against an internal pull-up) and triggers a flush directly,
  bypassing the voice pipeline.

compatible: "smart-toilet,flush-button"

properties:
  gpios:
    type: phandle-array
    required: true
    description: GPIO connected to the flush switch.
```

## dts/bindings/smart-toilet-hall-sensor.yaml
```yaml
# Copyright (c) 2026 Nordic Semiconductor ASA
# SPDX-License-Identifier: LicenseRef-Nordic-5-Clause

description: |
  Smart toilet Hall effect sensor input. The magnet on the motor shaft
  asserts this line (active low) when it passes the sensor.

compatible: "smart-toilet,hall-sensor"

properties:
  gpios:
    type: phandle-array
    required: true
    description: GPIO connected to the Hall sensor output.
```

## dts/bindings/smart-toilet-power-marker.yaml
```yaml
# Copyright (c) 2026 Nordic Semiconductor ASA
# SPDX-License-Identifier: LicenseRef-Nordic-5-Clause

description: |
  Bench-only power-measurement marker. A single GPIO output driven HIGH for
  the whole duration of a connectivity DRAIN window (radio on) and LOW
  between windows, so a Power Profiler Kit II logic channel brackets exactly
  the radio-on period on the current trace. Not populated in field builds.

compatible: "smart-toilet,power-marker"

properties:
  gpios:
    type: phandle-array
    required: true
    description: GPIO wired to a PPK2 digital input (D0-D7).
```

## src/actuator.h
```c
/*
 * Copyright (c) 2026 Nordic Semiconductor ASA
 *
 * SPDX-License-Identifier: LicenseRef-Nordic-5-Clause
 */

/**
 * @defgroup actuator Flush actuator control functions
 * @{
 * @ingroup ww_kws
 */

#ifndef __ACTUATOR_H__
#define __ACTUATOR_H__

#ifdef __cplusplus
extern "C" {
#endif /* __cplusplus */

/**
 * @brief Initialize the flush motor drive and Hall sensor GPIOs.
 *
 * @return Operation status, 0 for success.
 */
int actuator_init(void);

/**
 * @brief Trigger a flush: run the motor until the shaft magnet is sensed by
 *        the Hall sensor (or a safety timeout elapses), then stop. Requests
 *        received while the motor runs or during the lockout are ignored.
 */
void actuator_flush(void);

#ifdef __cplusplus
}
#endif /* __cplusplus */

#endif /* __ACTUATOR_H__ */

/**
 * @}
 */
```

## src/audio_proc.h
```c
/*
 * Copyright (c) 2026 Nordic Semiconductor ASA
 *
 * SPDX-License-Identifier: LicenseRef-Nordic-5-Clause
 */

/**
 * @defgroup audio_proc Audio front-end cleanup (high-pass filter, AGC)
 * @{
 * @ingroup ww_kws
 */

#ifndef __AUDIO_PROC_H__
#define __AUDIO_PROC_H__

#include <stddef.h>

#ifdef __cplusplus
extern "C" {
#endif /* __cplusplus */

#ifdef CONFIG_APP_AUDIO_PROC
/**
 * @brief Clean up one block of 16-bit PCM audio in place.
 *
 * Applies the 120 Hz high-pass filter (APP_AUDIO_HPF) and/or the software
 * automatic gain control (APP_AGC) before the block reaches detection.
 *
 * @param buffer Audio buffer of 16-bit signed samples, modified in place.
 * @param num_samples Number of samples in the buffer.
 */
void audio_proc_run(void *buffer, size_t num_samples);
#else
static inline void audio_proc_run(void *buffer, size_t num_samples)
{
}
#endif /* CONFIG_APP_AUDIO_PROC */

#ifdef __cplusplus
}
#endif /* __cplusplus */

#endif /* __AUDIO_PROC_H__ */

/**
 * @}
 */
```

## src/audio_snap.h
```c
/*
 * Copyright (c) 2026 Nordic Semiconductor ASA
 *
 * SPDX-License-Identifier: LicenseRef-Nordic-5-Clause
 */

/**
 * @defgroup audio_snap Audio snapshot recording over the control UART
 * @{
 * @ingroup ww_kws
 */

#ifndef __AUDIO_SNAP_H__
#define __AUDIO_SNAP_H__

#include <stddef.h>

#ifdef __cplusplus
extern "C" {
#endif /* __cplusplus */

#ifdef CONFIG_APP_AUDIO_SNAP
/**
 * @brief Start listening for the snapshot trigger on the control UART.
 *
 * On receiving the trigger byte 'S', the next APP_AUDIO_SNAP_SECONDS of
 * audio fed via @c audio_snap_feed are recorded to RAM, then dumped back
 * over the control UART as an "AUDIO_SNAP <bytes>" header followed by raw
 * 16-bit little-endian PCM. Save it with: tools/uart_monitor.py snap.
 *
 * @return Operation status, 0 for success.
 */
int audio_snap_init(void);

/**
 * @brief Offer one block of 16-bit PCM audio to the recorder.
 *
 * Copies the block while a snapshot is being recorded, otherwise no-op.
 *
 * @param buffer Audio buffer of 16-bit signed samples.
 * @param num_samples Number of samples in the buffer.
 */
void audio_snap_feed(const void *buffer, size_t num_samples);
#else
static inline int audio_snap_init(void)
{
	return 0;
}

static inline void audio_snap_feed(const void *buffer, size_t num_samples)
{
}
#endif /* CONFIG_APP_AUDIO_SNAP */

#ifdef __cplusplus
}
#endif /* __cplusplus */

#endif /* __AUDIO_SNAP_H__ */

/**
 * @}
 */
```
